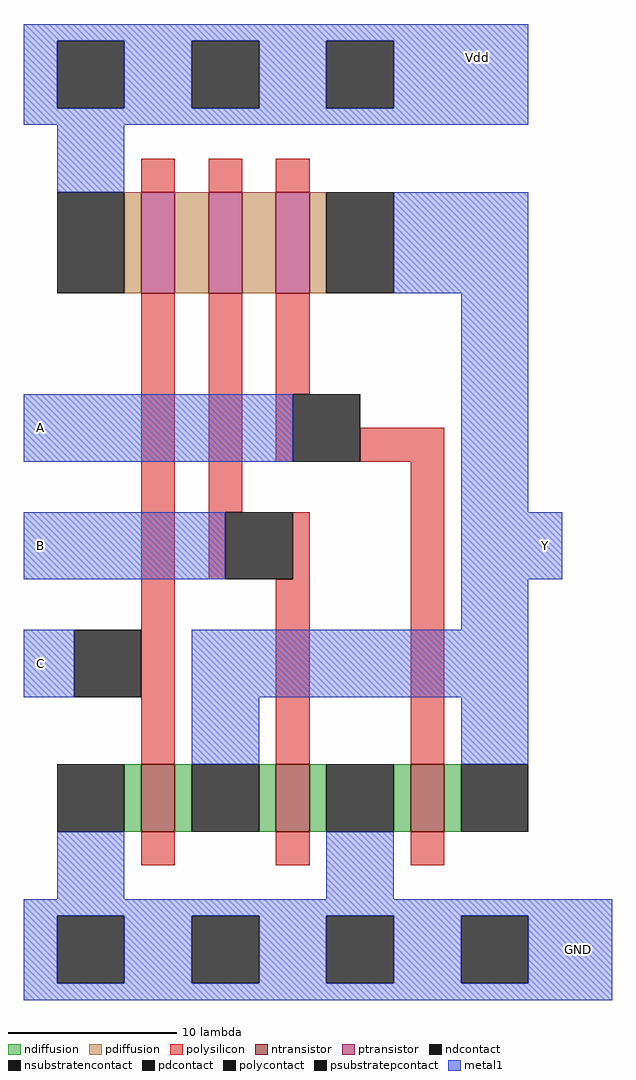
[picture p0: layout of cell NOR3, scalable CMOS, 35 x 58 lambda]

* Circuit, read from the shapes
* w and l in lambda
.subckt NOR3 A B C GND Vdd Y
M1 Y C GND GND nfet w=4 l=2
M2 GND B Y GND nfet w=4 l=2
M3 Y A GND GND nfet w=4 l=2
M4 n1 C Vdd Vdd pfet w=6 l=2
M5 n2 B n1 Vdd pfet w=6 l=2
M6 Y A n2 Vdd pfet w=6 l=2
.ends

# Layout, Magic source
magic
tech scmos
<< polysilicon >>
rect -9 7 -7 9
rect -5 7 -3 9
rect -1 7 1 9
rect -9 -27 -7 1
rect -5 -12 -3 1
rect -1 -5 1 1
rect -1 -9 0 -5
rect 4 -9 9 -7
rect -5 -16 -4 -12
rect 0 -16 1 -12
rect -1 -27 1 -16
rect 7 -27 9 -9
rect -9 -33 -7 -31
rect -1 -33 1 -31
rect 7 -33 9 -31
<< ndiffusion >>
rect -10 -31 -9 -27
rect -7 -31 -6 -27
rect -2 -31 -1 -27
rect 1 -31 2 -27
rect 6 -31 7 -27
rect 9 -31 10 -27
<< pdiffusion >>
rect -10 1 -9 7
rect -7 1 -5 7
rect -3 1 -1 7
rect 1 1 2 7
<< metal1 >>
rect -16 16 14 17
rect -16 12 -14 16
rect -10 12 -6 16
rect -2 12 2 16
rect 6 12 14 16
rect -16 11 14 12
rect -14 7 -10 11
rect 6 1 14 7
rect -16 -9 0 -5
rect 10 -12 14 1
rect -16 -16 -4 -12
rect 10 -16 16 -12
rect 10 -19 14 -16
rect -16 -23 -13 -19
rect -6 -23 14 -19
rect -6 -27 -2 -23
rect 10 -27 14 -23
rect -14 -35 -10 -31
rect 2 -35 6 -31
rect -16 -36 19 -35
rect -16 -40 -14 -36
rect -10 -40 -6 -36
rect -2 -40 2 -36
rect 6 -40 10 -36
rect 14 -40 19 -36
rect -16 -41 19 -40
<< ntransistor >>
rect -9 -31 -7 -27
rect -1 -31 1 -27
rect 7 -31 9 -27
<< ptransistor >>
rect -9 1 -7 7
rect -5 1 -3 7
rect -1 1 1 7
<< polycontact >>
rect -13 -23 -9 -19
rect 0 -9 4 -5
rect -4 -16 0 -12
<< ndcontact >>
rect -14 -31 -10 -27
rect -6 -31 -2 -27
rect 2 -31 6 -27
rect 10 -31 14 -27
<< pdcontact >>
rect -14 1 -10 7
rect 2 1 6 7
<< psubstratepcontact >>
rect -14 -40 -10 -36
rect -6 -40 -2 -36
rect 2 -40 6 -36
rect 10 -40 14 -36
<< nsubstratencontact >>
rect -14 12 -10 16
rect -6 12 -2 16
rect 2 12 6 16
<< labels >>
rlabel metal1 11 14 11 16 5 Vdd
rlabel metal1 -15 -8 -15 -6 3 A
rlabel metal1 -15 -15 -15 -13 3 B
rlabel metal1 -15 -22 -15 -20 3 C
rlabel metal1 17 -39 17 -37 8 GND
rlabel metal1 15 -15 15 -13 7 Y
<< end >>
